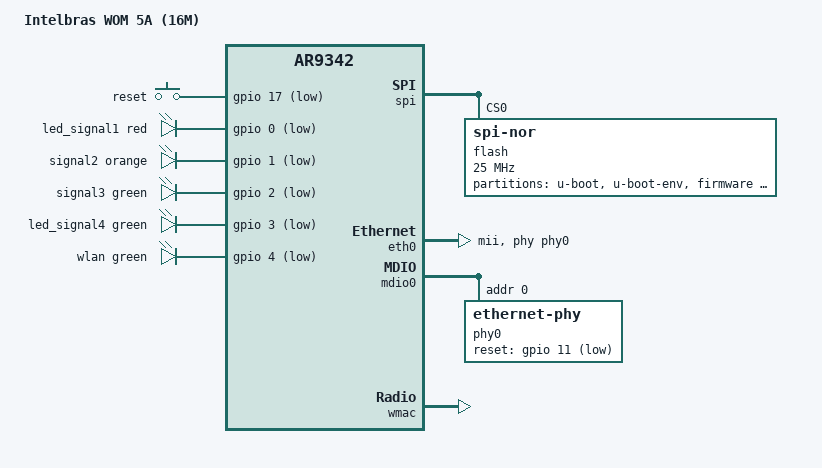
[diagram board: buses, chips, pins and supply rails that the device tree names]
// SPDX-License-Identifier: GPL-2.0-or-later OR MIT

#include <dt-bindings/gpio/gpio.h>
#include <dt-bindings/input/input.h>
#include <dt-bindings/leds/common.h>

#include "ar9344.dtsi"

/ {
	model = "Intelbras WOM 5A (16M)";
	compatible = "intelbras,wom-5a-16m", "qca,ar9342";

	aliases {
		led-boot = &led_signal4;
		led-failsafe = &led_signal1;
		led-upgrade = &led_signal4;
	};

	keys {
		compatible = "gpio-keys";

		reset {
			label = "reset";
			linux,code = <KEY_RESTART>;
			gpios = <&gpio 17 GPIO_ACTIVE_LOW>;
			debounce-interval = <60>;
		};
	};

	leds {
		compatible = "gpio-leds";

		led_signal1: signal1 {
			color = <LED_COLOR_ID_RED>;
			function = LED_FUNCTION_INDICATOR;
			function-enumerator = <1>;
			gpios = <&gpio 0 GPIO_ACTIVE_LOW>;
		};

		signal2 {
			color = <LED_COLOR_ID_ORANGE>;
			function = LED_FUNCTION_INDICATOR;
			function-enumerator = <2>;
			gpios = <&gpio 1 GPIO_ACTIVE_LOW>;
		};

		signal3 {
			color = <LED_COLOR_ID_GREEN>;
			function = LED_FUNCTION_INDICATOR;
			function-enumerator = <3>;
			gpios = <&gpio 2 GPIO_ACTIVE_LOW>;
		};

		led_signal4: signal4 {
			color = <LED_COLOR_ID_GREEN>;
			function = LED_FUNCTION_INDICATOR;
			function-enumerator = <4>;
			gpios = <&gpio 3 GPIO_ACTIVE_LOW>;
		};

		wlan {
			color = <LED_COLOR_ID_GREEN>;
			function = LED_FUNCTION_WLAN;
			gpios = <&gpio 4 GPIO_ACTIVE_LOW>;
			linux,default-trigger = "phy0tpt";
		};
	};
};

&ref {
	clock-frequency = <40000000>;
};

&spi {
	status = "okay";

	flash@0 {
		compatible = "jedec,spi-nor";
		reg = <0>;
		spi-max-frequency = <25000000>;

		partitions {
			compatible = "fixed-partitions";
			#address-cells = <1>;
			#size-cells = <1>;

			partition@0 {
				label = "u-boot";
				reg = <0x000000 0x040000>;
				read-only;
			};

			partition@40000 {
				label = "u-boot-env";
				reg = <0x040000 0x010000>;
				read-only;
			};

			partition@50000 {
				compatible = "openwrt,uimage", "denx,uimage";
				label = "firmware";
				reg = <0x050000 0xfa0000>;
			};

			partition@ff0000 {
				label = "art";
				reg = <0xff0000 0x010000>;
				read-only;

				nvmem-layout {
					compatible = "fixed-layout";
					#address-cells = <1>;
					#size-cells = <1>;

					cal_art_1000: calibration@1000 {
						reg = <0x1000 0x440>;
					};

					macaddr_art_1002: macaddr@1002 {
						compatible = "mac-base";
						reg = <0x1002 0x6>;
						#nvmem-cell-cells = <1>;
					};
				};
			};
		};
	};
};

&eth0 {
	status = "okay";

	phy-handle = <&phy0>;
	phy-mode = "mii";

	nvmem-cells = <&macaddr_art_1002 0>;
	nvmem-cell-names = "mac-address";
};

&mdio0 {
	status = "okay";

	phy0: ethernet-phy@0 {
		reg = <0>;
		phy-mode = "mii";
		reset-gpios = <&gpio 11 GPIO_ACTIVE_LOW>;
	};
};

&wmac {
	status = "okay";

	nvmem-cells = <&cal_art_1000>, <&macaddr_art_1002 1>;
	nvmem-cell-names = "calibration", "mac-address";
};
